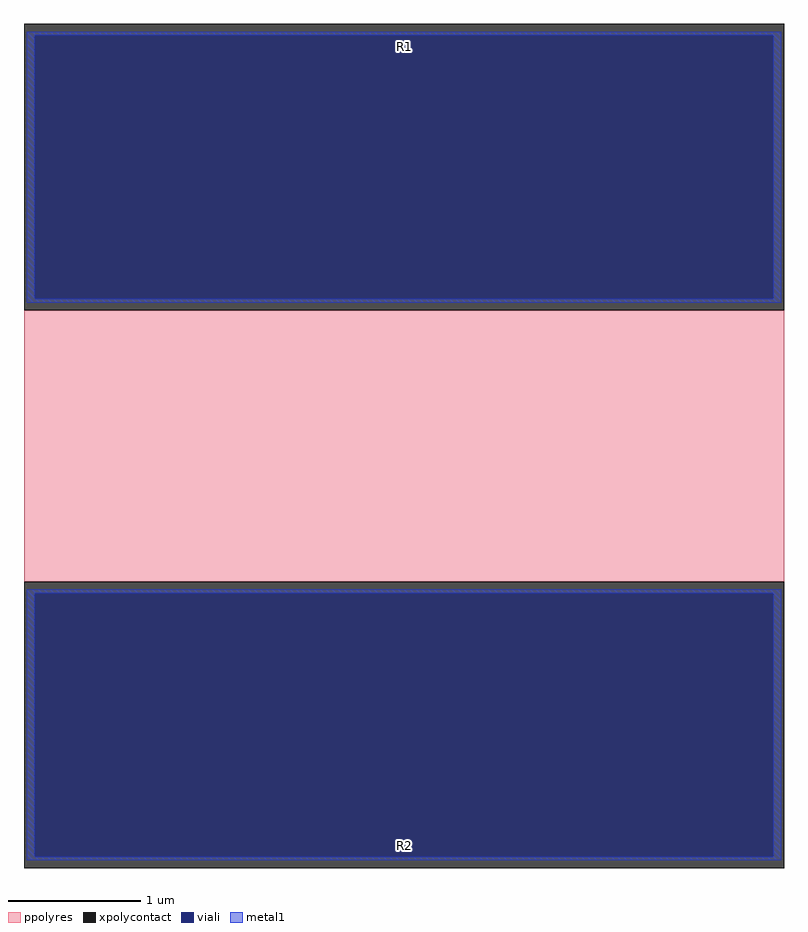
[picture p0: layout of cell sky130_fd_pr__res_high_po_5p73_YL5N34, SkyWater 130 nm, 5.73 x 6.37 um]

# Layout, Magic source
magic
tech sky130A
magscale 1 2
<< xpolycontact >>
rect -573 205 573 637
rect -573 -637 573 -205
<< ppolyres >>
rect -573 -205 573 205
<< viali >>
rect -557 222 557 619
rect -557 -619 557 -222
<< metal1 >>
rect -569 619 569 625
rect -569 222 -557 619
rect 557 222 569 619
rect -569 216 569 222
rect -569 -222 569 -216
rect -569 -619 -557 -222
rect 557 -619 569 -222
rect -569 -625 569 -619
<< labels >>
rlabel xpolycontact 0 602 0 602 0 R1
port 1 nsew
rlabel xpolycontact 0 -602 0 -602 0 R2
port 2 nsew
<< properties >>
string gencell sky130_fd_pr__res_high_po_5p73
string library sky130
string parameters w 5.730 l 2.21 m 1 nx 1 wmin 5.730 lmin 0.50 class resistor rho 319.8 val 191.343 dummy 0 dw 0.0 term 194.82 sterm 0.0 caplen 0 guard 0 glc 1 grc 1 gtc 1 gbc 1 compatible {sky130_fd_pr__res_high_po_0p35  sky130_fd_pr__res_high_po_0p69 sky130_fd_pr__res_high_po_1p41  sky130_fd_pr__res_high_po_2p85 sky130_fd_pr__res_high_po_5p73} snake 0 full_metal 0 wmax 5.730 n_guard 0 hv_guard 0 vias 1 viagb 0 viagt 0 viagl 0 viagr 0 doports 1
<< end >>
